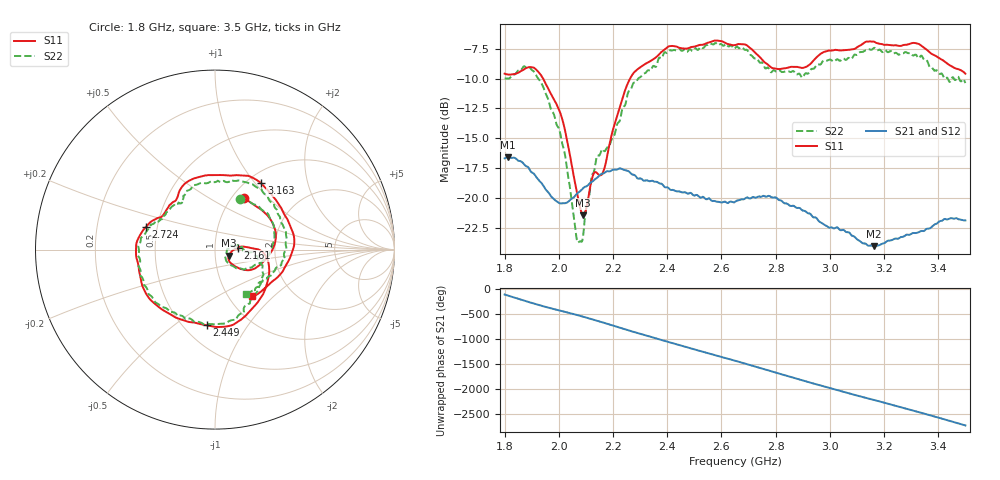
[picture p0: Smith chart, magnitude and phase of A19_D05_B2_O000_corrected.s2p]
! Created with skrf 1.9.0 (http://scikit-rf.org).
# Hz S RI R 50.0
!freq ReS11 ImS11 ReS21 ImS21 ReS12 ImS12 ReS22 ImS22
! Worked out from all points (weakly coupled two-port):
!   1601 points, 1.8 GHz to 3.5 GHz, reference 50 ohm
!   highest |S21| = -16.59 dB at 1.812 GHz (marker M1); lowest = -24.0 dB at 3.161 GHz (marker M2)
!   lowest |S11| = -21.4 dB at 2.09 GHz (marker M3), VSWR 1.19, Z = 58.3 - j3.95 ohm
!   |S11| at or under -10 dB: 1.942 GHz to 2.263 GHz (320.5 MHz wide, 15.2 % of centre)
!   |S22| runs from -23.7 to -7.0 dB; largest |S21 - S12| = 0.0026
!   S11 on the Smith chart (normalised r, x): 1.8 GHz: 1.13, +0.74; 2.161 GHz: 1.29, +0.02; 2.449 GHz: 0.64, -0.66; 2.724 GHz: 0.43, +0.13; 3.163 GHz: 1.16, +1.08; 3.5 GHz: 1.28, -0.74
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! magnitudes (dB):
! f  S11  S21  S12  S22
! 1.8 GHz  -9.6  -16.7  -16.7  -10.0
! 1.812 GHz  -9.7  -16.6  -16.6  -10.0
! 1.885 GHz  -9.1  -17.4  -17.4  -9.0
! 1.94 GHz  -9.9  -18.9  -18.9  -10.6
! 2.013 GHz  -13.4  -20.4  -20.4  -15.4
! 2.065 GHz  -19.3  -19.7  -19.7  -23.2
! 2.084 GHz  -21.2  -19.3  -19.3  -23.6
! 2.09 GHz  -21.4  -19.2  -19.2  -23.1
! 2.126 GHz  -18.1  -18.6  -18.6  -17.9
! 2.161 GHz  -17.9  -17.9  -17.9  -15.9
! 2.259 GHz  -10.2  -17.8  -17.8  -11.0
! 2.367 GHz  -8.0  -18.7  -18.7  -8.4
! 2.449 GHz  -7.5  -19.5  -19.5  -7.6
! 2.65 GHz  -7.2  -20.3  -20.3  -7.5
! 2.724 GHz  -7.8  -20.0  -19.9  -8.3
! 2.798 GHz  -9.2  -19.9  -19.9  -9.4
! 2.934 GHz  -8.6  -21.5  -21.4  -9.2
! 3.161 GHz  -6.9  -24.0  -24.0  -7.5
! 3.163 GHz  -6.9  -24.0  -24.0  -7.4
! 3.217 GHz  -7.2  -23.5  -23.5  -7.8
! 3.324 GHz  -7.1  -22.9  -22.8  -8.2
! 3.5 GHz  -9.6  -21.9  -21.9  -10.4
